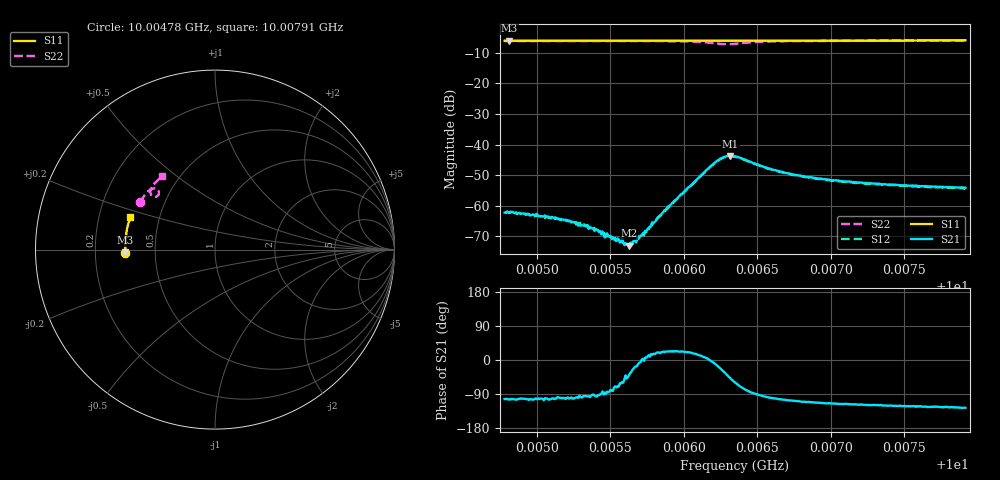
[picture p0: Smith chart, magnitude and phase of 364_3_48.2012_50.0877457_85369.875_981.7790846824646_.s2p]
#  HZ  S  RI  R  50.00
! Rohde & Schwarz Vector Network Analyzer
! Rohde-Schwarz,ZNB20-2Port,1311601062101988,3.16
! Created: UTC 3/20/2024, 11:52:20 AM
! freq[Hz]  re:S11  im:S11  re:S21  im:S21  re:S12  im:S12  re:S22  im:S22
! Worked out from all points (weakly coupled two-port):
!   401 points, 10.00478 GHz to 10.00791 GHz, reference 50 ohm
!   highest |S21| = -43.70 dB at 10.00632 GHz (marker M1); lowest = -73.1 dB at 10.00563 GHz (marker M2)
!   lowest |S11| = -6.0 dB at 10.00481 GHz (marker M3), VSWR 2.99, Z = 16.7 - j0.635 ohm
!   |S11| at or under -10 dB: nowhere
!   |S22| runs from -7.2 to -6.0 dB; largest |S21 - S12| = 0.0004
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1.0004783e10  -0.499 -0.0163  -0.000174 -0.000749  -0.000118 -0.000773  -0.4167 0.2647
1.0004814e10  -0.499 -0.0143  -0.000199 -0.000755  -0.000143 -0.000745  -0.4156 0.2667
1.0005119e10  -0.4998 0.0056  -0.00014 -0.000609  -9.83e-05 -0.000597  -0.4047 0.2847
1.0005307e10  -0.4999 0.0179  -7.79e-05 -0.00047  -5.95e-05 -0.00049  -0.3971 0.296
1.0005417e10  -0.4999 0.0249  -2.02e-05 -0.000399  5.03e-06 -0.000397  -0.3923 0.3026
1.0005456e10  -0.4998 0.0274  -6.15e-06 -0.000336  3.35e-05 -0.000354  -0.3906 0.3048
1.0005487e10  -0.4997 0.0295  2.85e-05 -0.00032  3.09e-05 -0.000315  -0.3892 0.3068
1.0005526e10  -0.4997 0.0319  8.87e-05 -0.000273  7.66e-05 -0.000267  -0.3873 0.3091
1.0005566e10  -0.4995 0.0345  0.000119 -0.000219  0.000154 -0.000204  -0.3855 0.3115
1.0005613e10  -0.4995 0.0376  0.00015 -0.000172  0.000177 -0.00013  -0.3829 0.3143
1.0005628e10  -0.4993 0.0387  0.000171 -0.000143  0.000163 -0.000151  -0.3821 0.3154
1.0005659e10  -0.4992 0.0406  0.000246 -0.000101  0.000232 -7.91e-05  -0.3803 0.3173
1.0005714e10  -0.499 0.0442  0.000327 3.12e-06  0.00032 -2.24e-05  -0.3771 0.3208
1.0005832e10  -0.4986 0.0518  0.000626 0.000227  0.00059 0.000263  -0.3692 0.3283
1.0006192e10  -0.496 0.075  0.00461 -0.000338  0.00454 -0.00012  -0.3182 0.3318
1.0006254e10  -0.4953 0.0788  0.00544 -0.00247  0.00543 -0.00212  -0.3124 0.3129
1.0006317e10  -0.4948 0.0824  0.00436 -0.00487  0.00449 -0.00454  -0.3257 0.2954
1.0006348e10  -0.4946 0.0845  0.00327 -0.0055  0.00348 -0.00524  -0.3359 0.2933
1.0006591e10  -0.4927 0.1  -0.000703 -0.00394  -0.000498 -0.00387  -0.3594 0.3288
1.0006873e10  -0.4895 0.1179  -0.00106 -0.00269  -0.000926 -0.00268  -0.3475 0.3545
1.0007397e10  -0.4814 0.1507  -0.00114 -0.00192  -0.000984 -0.00192  -0.3216 0.3844
1.0007914e10  -0.4713 0.1825  -0.00116 -0.00158  -0.00103 -0.00159  -0.2954 0.408
